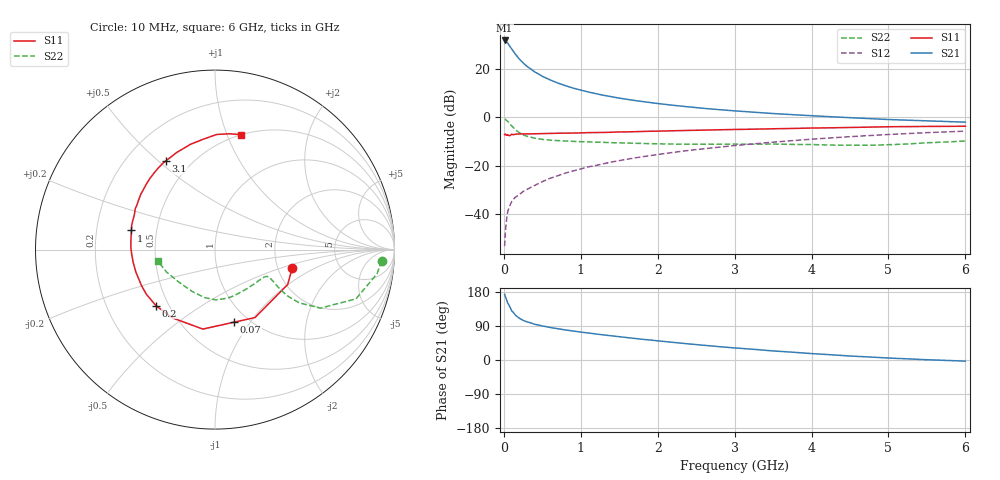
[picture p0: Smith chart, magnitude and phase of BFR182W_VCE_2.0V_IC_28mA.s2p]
! Infineon Technologies  Discrete & RF Semiconductors
! BFR182W
! VCE =  2.0 V,  IC =  28 mA
! Common Emitter S-Parameters:  Jan 2017
# GHz  S  MA  R  50
!  f  S11  S21  S12  S22
! GHz  MAG  ANG  MAG  ANG  MAG  ANG  MAG  ANG
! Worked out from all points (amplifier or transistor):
!   77 points, 10 MHz to 6 GHz, reference 50 ohm
!   highest |S21| = 32.0 dB at 10 MHz (marker M1)
!   |S21| within 3 dB of that: start of sweep to 89.93 MHz
!   unconditionally stable (mu >= 1): 401.3 MHz to 2.546 GHz
!   at 130 MHz: K = 0.56, MSG = 30.6 dB, |S12| = -33.9 dB
!   at 2.2 GHz: K = 1.03, MAG = 8.7 dB, |S12| = -14.6 dB
!   at 6 GHz: K = 0.92, MSG = 1.9 dB, |S12| = -5.7 dB
!   S11 on the Smith chart (normalised r, x): 10 MHz: 2.41, -0.60; 70 MHz: 0.86, -0.84; 200 MHz: 0.43, -0.34; 1 GHz: 0.36, +0.10; 3.1 GHz: 0.36, +0.53; 6 GHz: 0.50, +1.12
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0.01  0.4425 -13.1  39.97 173.5  0.0021 85.6  0.9304 -3.9
0.02  0.4493 -25.7  39.63 167.4  0.0041 87.0  0.9132 -8.4
0.05  0.4394 -59.5  35.26 150.3  0.0109 70.5  0.8323 -19.2
0.07  0.4181 -75.2  31.5 143.6  0.0135 66.9  0.7652 -22.7
0.1  0.448 -98.7  26.94 130.4  0.0175 63.5  0.671 -29.1
0.15  0.4485 -122.0  20.69 118.3  0.022 58.5  0.5538 -32.3
0.2  0.4537 -136.5  16.49 110.4  0.0247 61.4  0.4834 -32.6
0.25  0.4561 -146.9  13.66 104.7  0.0288 60.9  0.4372 -31.7
0.3  0.456 -153.9  11.58 100.6  0.0318 61.8  0.4061 -30.6
0.4  0.4582 -164.0  8.898 94.3  0.0384 65.9  0.3707 -28.7
0.5  0.4614 -171.3  7.191 89.8  0.0461 67.8  0.3504 -27.6
0.6  0.4652 -177.2  6.052 85.9  0.0541 69.1  0.338 -27.0
0.7  0.4691 178.3  5.214 82.6  0.0612 70.7  0.33 -27.1
0.8  0.4711 174.3  4.586 79.3  0.0696 71.7  0.3235 -27.6
1  0.4777 167.1  3.704 73.7  0.085 72.0  0.3136 -29.3
1.1  0.4834 163.8  3.383 71.2  0.0938 72.2  0.3105 -30.6
1.5  0.4994 152.8  2.526 61.5  0.1263 71.3  0.2961 -37.0
2.1  0.5232 138.7  1.869 48.6  0.1782 68.0  0.2808 -51.1
3.1  0.5651 118.9  1.336 30.4  0.269 60.0  0.2783 -78.6
4.1  0.6047 101.7  1.066 15.7  0.3619 50.1  0.2701 -106.0
5.1  0.6426 87.9  0.894 4.3  0.4499 39.0  0.2745 -142.0
6  0.6564 77.3  0.798 -3.0  0.5194 28.7  0.3237 -168.2
